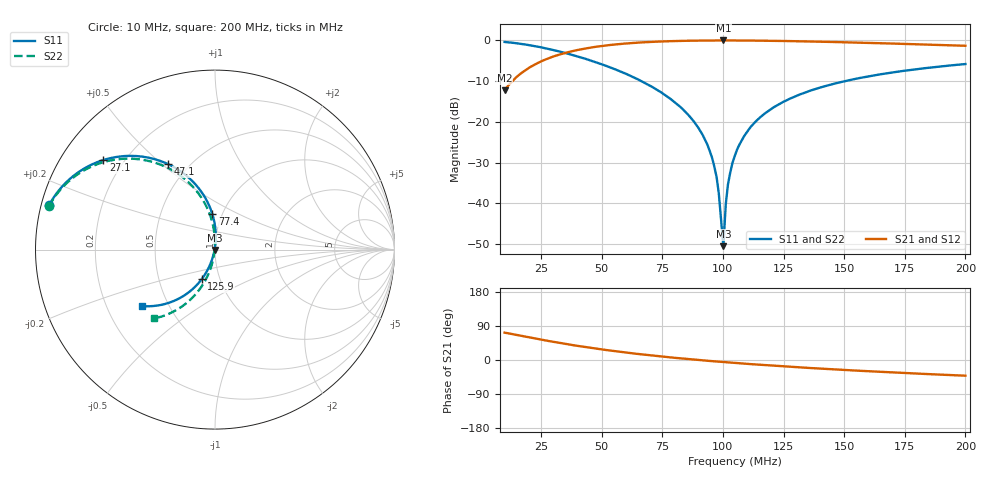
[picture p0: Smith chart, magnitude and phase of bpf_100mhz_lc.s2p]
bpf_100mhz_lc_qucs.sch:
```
<Qucs Schematic 24.4.1>
<Properties>
  <View=0,0,800,600,1,0,0>
</Properties>
<Symbol>
</Symbol>
<Components>
  <Pac P1 1 100 150 -32 23 0 0 "1" 1 "50 Ohm" 1 "0 dBm" 0 "1 GHz" 0>
  <Pac P2 1 350 150 19 23 0 0 "2" 1 "50 Ohm" 1 "0 dBm" 0 "1 GHz" 0>
  <2Port X1 1 220 150 -20 -40 0 0 "projects/bpf_100mhz_lc/simulation/bpf_100mhz_lc.s2p" 1 "linear" 0 "open" 0>
  <.SP SP1 1 120 280 0 57 0 0 "lin" 1 "0.01GHz" 1 "0.2GHz" 1 "201" 1 "no" 0>
</Components>
<Wires>
</Wires>
<Diagrams>
</Diagrams>
<Paintings>
</Paintings>
```
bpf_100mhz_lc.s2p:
! Touchstone 2-Port S-Parameter Data
! Circuit: 100MHz Shunted LC Tank Bandpass Filter (50Ω)
! Substrate: FR4 (er=4.4, h=1.6mm)
! Transmission Line: CPWG (w=1.87mm, s=0.40mm, eps_eff=2.88)
! Simulation Mode: traces
# GHz S MA R 50.0
! Freq(GHz)  S11_mag S11_ang  S21_mag S21_ang  S12_mag S12_ang  S22_mag S22_ang
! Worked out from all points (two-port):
!   201 points, 10 MHz to 200 MHz, reference 50 ohm
!   highest |S21| = -0.02 dB at 100.2 MHz (marker M1); lowest = -12.3 dB at 10 MHz (marker M2)
!   |S21| within 3 dB of the highest: 35.41 MHz to end of sweep
!   lowest |S11| = -50.5 dB at 100.2 MHz (marker M3), VSWR 1.01, Z = 49.7 - j0.154 ohm
!   |S11| at or under -10 dB: 66.37 MHz to 150.4 MHz (84.01 MHz wide, 77.5 % of centre)
!   |S22| runs from -50.5 to -0.4 dB; largest |S21 - S12| = 0
!   S11 on the Smith chart (normalised r, x): 10 MHz: 0.02, +0.13; 27.1 MHz: 0.13, +0.35; 47.1 MHz: 0.38, +0.52; 77.4 MHz: 0.90, +0.37; 125.9 MHz: 0.82, -0.28; 200 MHz: 0.36, -0.30
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0.01  0.9564 164.9  0.2432 72.2  0.2432 72.2  0.9564 165.4
0.0271  0.7973 141.2  0.5862 51.4  0.5862 51.4  0.7973 142.7
0.0471  0.5461 119.0  0.8294 30.6  0.8294 30.6  0.5461 121.5
0.0774  0.2007 94.4  0.9761 7.5  0.9761 7.5  0.2007 98.5
0.0945  0.04452 85.7  0.9965 -2.5  0.9965 -2.5  0.04452 90.7
0.0974  0.02103 87.2  0.9975 -4.0  0.9975 -4.0  0.02103 92.4
0.1002  0.00297 -148.5  0.9978 -5.4  0.9978 -5.4  0.00297 -143.2
0.1021  0.01704 -108.9  0.9977 -6.4  0.9977 -6.4  0.01704 -103.5
0.105  0.0388 -106.3  0.9972 -7.8  0.9972 -7.8  0.0388 -100.8
0.1259  0.1816 -114.2  0.982 -17.1  0.982 -17.1  0.1816 -107.6
0.2  0.5123 -142.1  0.8583 -41.4  0.8583 -41.4  0.5123 -131.5
